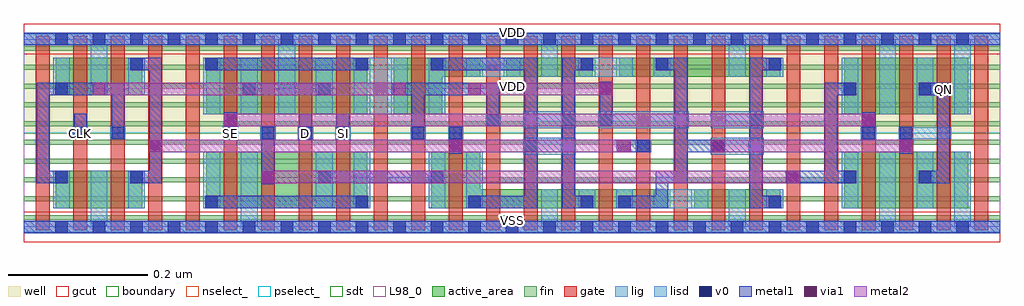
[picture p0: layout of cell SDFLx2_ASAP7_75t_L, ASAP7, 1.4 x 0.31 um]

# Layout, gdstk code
import gdstk
lib = gdstk.Library(unit=1e-6, precision=2.5e-10)
def R(c, l, rs):  # rectangles x0, y0, x1, y1
    for r in rs: c.add(gdstk.rectangle(r[:2], r[2:], *l))
def A(c, l, x, y, w, h, nx, ny, dx, dy):  # array of equal rectangles
    R(c, l, [(x+i*dx, y+j*dy, x+i*dx+w, y+j*dy+h) for i in range(nx) for j in range(ny)])
def P(c, l, *ps):  # polygons
    for p in ps: c.add(gdstk.Polygon(p, *l))
well = (1, 0)
fin = (2, 0)
gate = (7, 0)
gcut = (10, 0)
active_area = (11, 0)
nselect_ = (12, 0)
pselect_ = (13, 0)
lig = (16, 0)
lisd = (17, 0)
v0 = (18, 0)
metal1 = (19, 0)
metal2 = (20, 0)
via1 = (21, 0)
sdt = (88, 0)
L98_0 = (98, 0)
boundary = (100, 0)

sdflx2_asap7_75t_l = lib.new_cell('SDFLx2_ASAP7_75t_L')
R(sdflx2_asap7_75t_l, well, [(0,0.135,1.404,0.27)])
A(sdflx2_asap7_75t_l, fin, 0, 0.01, 1.404, 0.007, 1, 10, 0, 0.027)
A(sdflx2_asap7_75t_l, gate, 0.017, -0.005, 0.02, 0.28, 26, 1, 0.054, 0)
R(sdflx2_asap7_75t_l, gcut, [(0,-0.022,1.404,0.022), (0,0.248,1.404,0.292)])
R(sdflx2_asap7_75t_l, active_area, [(0.046,0.027,0.17,0.081), (0.262,0.027,0.494,0.108), (0.964,0.027,1.088,0.054), (1.18,0.027,1.358,0.108), (0.262,0.162,0.494,0.243), (1.18,0.162,1.358,0.243), (0.046,0.189,0.17,0.243), (0.694,0.216,0.818,0.243), (0.856,0.216,1.088,0.243)])
P(sdflx2_asap7_75t_l, active_area, [(0.586,0.027),(0.586,0.108),(0.656,0.108),(0.656,0.054),(0.926,0.054),(0.926,0.027)],
  [(0.532,0.162),(0.532,0.243),(0.656,0.243),(0.656,0.216),(0.602,0.216),(0.602,0.162)])
R(sdflx2_asap7_75t_l, nselect_, [(0,0,1.404,0.135)])
R(sdflx2_asap7_75t_l, pselect_, [(0,0.135,1.404,0.27)])
A(sdflx2_asap7_75t_l, lig, 0.286, 0.126, 0.022, 0.018, 4, 1, 0.054, 0)
A(sdflx2_asap7_75t_l, lig, 0.718, 0.145, 0.022, 0.018, 3, 1, 0.108, 0)
R(sdflx2_asap7_75t_l, lig, [(0,-0.008,1.404,0.008), (0.772,0.107,0.794,0.125), (0.88,0.107,0.902,0.125), (1.042,0.107,1.064,0.125), (0.07,0.126,0.092,0.144), (0.124,0.126,0.146,0.144), (0.556,0.126,0.578,0.144), (0.61,0.126,0.632,0.144), (1.204,0.126,1.226,0.144), (1.258,0.126,1.28,0.144), (1.258,0.127,1.334,0.143), (0.664,0.145,0.686,0.163), (0.988,0.145,1.01,0.163), (0,0.262,1.404,0.278)])
R(sdflx2_asap7_75t_l, lisd, [(0.096,0,0.12,0.081), (0.096,0,0.12,0.081), (0.312,0,0.336,0.108), (0.312,0,0.336,0.108), (0.744,0,0.768,0.054), (1.014,0,1.038,0.054), (1.23,0,1.254,0.108), (1.23,0,1.254,0.108), (1.338,0,1.362,0.108), (1.338,0,1.362,0.108), (0.042,0.027,0.066,0.081), (0.15,0.027,0.174,0.081), (0.258,0.027,0.282,0.108), (0.42,0.027,0.444,0.108), (0.474,0.027,0.498,0.108), (0.582,0.027,0.606,0.108), (0.636,0.027,0.66,0.108), (0.798,0.027,0.822,0.054), (0.852,0.027,0.876,0.054), (0.906,0.027,0.984,0.054), (1.068,0.027,1.092,0.054), (1.176,0.027,1.2,0.108), (1.284,0.027,1.308,0.108), (0.718,0.104,0.794,0.128), (0.988,0.104,1.064,0.128), (0.718,0.142,0.794,0.166), (0.826,0.142,0.956,0.166), (0.988,0.142,1.064,0.166), (0.258,0.162,0.282,0.243), (0.312,0.162,0.336,0.243), (0.366,0.162,0.39,0.27), (0.366,0.162,0.39,0.27), (0.42,0.162,0.444,0.243), (0.474,0.162,0.552,0.243), (0.474,0.162,0.498,0.243), (0.582,0.162,0.606,0.243), (1.176,0.162,1.2,0.243), (1.23,0.162,1.254,0.27), (1.23,0.162,1.254,0.27), (1.284,0.162,1.308,0.243), (1.338,0.162,1.362,0.27), (1.338,0.162,1.362,0.27), (0.042,0.189,0.066,0.243), (0.096,0.189,0.12,0.27), (0.096,0.189,0.12,0.27), (0.15,0.189,0.174,0.243), (0.636,0.216,0.714,0.243), (0.744,0.216,0.768,0.27), (0.798,0.216,0.876,0.243), (0.798,0.216,0.822,0.243), (0.906,0.216,0.93,0.243), (1.014,0.216,1.038,0.27), (1.068,0.216,1.092,0.243)])
A(sdflx2_asap7_75t_l, v0, 0.045, -0.009, 0.018, 0.018, 25, 2, 0.054, 0.27)
A(sdflx2_asap7_75t_l, v0, 0.477, 0.027, 0.018, 0.018, 3, 1, 0.162, 0)
A(sdflx2_asap7_75t_l, v0, 0.288, 0.126, 0.018, 0.018, 4, 1, 0.054, 0)
R(sdflx2_asap7_75t_l, v0, [(0.261,0.027,0.279,0.045), (0.855,0.027,0.873,0.045), (1.071,0.027,1.089,0.045), (0.045,0.063,0.063,0.081), (0.153,0.063,0.171,0.081), (0.423,0.063,0.441,0.081), (0.585,0.063,0.603,0.081), (1.179,0.063,1.197,0.081), (1.287,0.063,1.305,0.081), (0.72,0.107,0.738,0.125), (0.882,0.107,0.9,0.125), (0.99,0.107,1.008,0.125), (0.072,0.126,0.09,0.144), (0.126,0.126,0.144,0.144), (0.558,0.126,0.576,0.144), (0.612,0.126,0.63,0.144), (1.206,0.126,1.224,0.144), (1.26,0.126,1.278,0.144), (0.666,0.145,0.684,0.163), (0.774,0.145,0.792,0.163), (0.828,0.145,0.846,0.163), (1.044,0.145,1.062,0.163), (0.045,0.189,0.063,0.207), (0.315,0.189,0.333,0.207), (0.423,0.189,0.441,0.207), (1.179,0.189,1.197,0.207), (1.287,0.189,1.305,0.207), (0.153,0.225,0.171,0.243), (0.261,0.225,0.279,0.243), (0.477,0.225,0.495,0.243), (0.585,0.225,0.603,0.243), (0.801,0.225,0.819,0.243), (0.909,0.225,0.927,0.243), (1.071,0.225,1.089,0.243)])
A(sdflx2_asap7_75t_l, metal1, 0.477, 0.027, 0.018, 0.018, 3, 1, 0.162, 0)
A(sdflx2_asap7_75t_l, metal1, 0.288, 0.126, 0.018, 0.018, 4, 1, 0.054, 0)
R(sdflx2_asap7_75t_l, metal1, [(0,-0.009,1.404,0.009), (0.261,0.027,0.279,0.045), (0.261,0.027,0.495,0.045), (0.855,0.027,0.873,0.045), (1.071,0.027,1.089,0.045), (0.342,0.061,0.36,0.081), (0.045,0.063,0.063,0.081), (0.153,0.063,0.171,0.081), (0.342,0.063,0.36,0.144), (0.423,0.063,0.441,0.081), (0.423,0.063,0.603,0.081), (0.585,0.063,0.603,0.081), (1.096,0.063,1.118,0.081), (1.179,0.063,1.197,0.081), (1.287,0.063,1.305,0.081), (0.612,0.105,0.63,0.125), (1.26,0.105,1.278,0.125), (0.18,0.107,0.198,0.125), (0.612,0.107,0.63,0.144), (0.72,0.107,0.738,0.125), (0.853,0.107,0.875,0.125), (0.855,0.107,0.9,0.125), (0.882,0.107,0.9,0.125), (0.99,0.107,1.008,0.125), (0.99,0.107,1.008,0.125), (1.26,0.107,1.278,0.144), (0.072,0.126,0.09,0.144), (0.072,0.126,0.09,0.163), (0.126,0.126,0.144,0.144), (0.288,0.126,0.306,0.163), (0.396,0.126,0.414,0.163), (0.45,0.126,0.468,0.163), (0.558,0.126,0.576,0.144), (0.612,0.126,0.63,0.144), (1.206,0.126,1.224,0.144), (1.206,0.126,1.224,0.163), (1.26,0.126,1.278,0.144), (0.288,0.145,0.306,0.165), (0.666,0.145,0.684,0.163), (0.774,0.145,0.792,0.163), (0.828,0.145,0.846,0.163), (0.828,0.145,0.846,0.207), (1.044,0.145,1.062,0.163), (1.206,0.145,1.224,0.165), (0.045,0.189,0.063,0.207), (0.099,0.189,0.117,0.207), (0.315,0.189,0.333,0.207), (0.315,0.189,0.441,0.207), (0.423,0.189,0.441,0.207), (0.529,0.189,0.551,0.207), (0.639,0.189,0.657,0.207), (0.828,0.189,0.846,0.209), (1.179,0.189,1.197,0.207), (1.287,0.189,1.305,0.207), (0.153,0.225,0.171,0.243), (0.261,0.225,0.279,0.243), (0.261,0.225,0.495,0.243), (0.477,0.225,0.495,0.243), (0.585,0.225,0.603,0.243), (0.801,0.225,0.819,0.243), (0.909,0.225,0.927,0.243), (1.071,0.225,1.089,0.243), (0,0.261,1.404,0.279)])
P(sdflx2_asap7_75t_l, metal1, [(0.018,0.063),(0.018,0.207),(0.144,0.207),(0.144,0.126),(0.126,0.126),(0.126,0.189),(0.036,0.189),(0.036,0.081),(0.063,0.081),(0.063,0.063)],
  [(0.558,0.126),(0.558,0.189),(0.531,0.189),(0.531,0.207),(0.684,0.207),(0.684,0.145),(0.666,0.145),(0.666,0.189),(0.576,0.189),(0.576,0.126)],
  [(0.153,0.063),(0.153,0.081),(0.18,0.081),(0.18,0.225),(0.153,0.225),(0.153,0.243),(0.198,0.243),(0.198,0.063)],
  [(0.774,0.027),(0.774,0.243),(0.819,0.243),(0.819,0.225),(0.792,0.225),(0.792,0.045),(0.819,0.045),(0.819,0.027)],
  [(0.639,0.027),(0.639,0.045),(0.72,0.045),(0.72,0.225),(0.585,0.225),(0.585,0.243),(0.738,0.243),(0.738,0.027)],
  [(1.098,0.063),(1.098,0.081),(1.152,0.081),(1.152,0.207),(1.197,0.207),(1.197,0.189),(1.17,0.189),(1.17,0.081),(1.197,0.081),(1.197,0.063)],
  [(1.044,0.027),(1.044,0.243),(1.089,0.243),(1.089,0.225),(1.062,0.225),(1.062,0.045),(1.089,0.045),(1.089,0.027)],
  [(0.855,0.027),(0.855,0.045),(0.909,0.045),(0.909,0.081),(0.936,0.081),(0.936,0.225),(0.909,0.225),(0.909,0.243),(0.954,0.243),(0.954,0.125),(1.008,0.125),(1.008,0.107),(0.954,0.107),(0.954,0.063),(0.927,0.063),(0.927,0.027)],
  [(1.287,0.063),(1.287,0.081),(1.314,0.081),(1.314,0.189),(1.287,0.189),(1.287,0.207),(1.332,0.207),(1.332,0.063)])
R(sdflx2_asap7_75t_l, metal2, [(0.342,0.063,1.116,0.081), (0.18,0.107,0.873,0.125), (0.988,0.107,1.278,0.125), (0.288,0.145,1.224,0.163), (0.099,0.189,0.549,0.207), (0.639,0.189,0.846,0.207)])
R(sdflx2_asap7_75t_l, via1, [(0.342,0.063,0.36,0.081), (1.098,0.063,1.116,0.081), (0.18,0.107,0.198,0.125), (0.612,0.107,0.63,0.125), (0.855,0.107,0.873,0.125), (0.988,0.107,1.006,0.125), (1.26,0.107,1.278,0.125), (0.288,0.145,0.306,0.163), (1.206,0.145,1.224,0.163), (0.099,0.189,0.117,0.207), (0.531,0.189,0.549,0.207), (0.639,0.189,0.657,0.207), (0.828,0.189,0.846,0.207)])
A(sdflx2_asap7_75t_l, sdt, 0.744, 0.027, 0.024, 0.027, 7, 1, 0.054, 0)
A(sdflx2_asap7_75t_l, sdt, 1.23, 0.027, 0.024, 0.081, 3, 2, 0.054, 0.135)
A(sdflx2_asap7_75t_l, sdt, 0.258, 0.162, 0.024, 0.081, 3, 1, 0.054, 0)
A(sdflx2_asap7_75t_l, sdt, 0.366, 0.162, 0.024, 0.081, 5, 1, 0.054, 0)
A(sdflx2_asap7_75t_l, sdt, 0.636, 0.216, 0.024, 0.027, 6, 1, 0.054, 0)
R(sdflx2_asap7_75t_l, sdt, [(0.042,0.027,0.066,0.081), (0.096,0.027,0.12,0.081), (0.096,0.027,0.12,0.081), (0.15,0.027,0.174,0.081), (0.258,0.027,0.282,0.108), (0.312,0.027,0.336,0.108), (0.312,0.027,0.336,0.108), (0.42,0.027,0.444,0.108), (0.474,0.027,0.498,0.108), (0.582,0.027,0.606,0.108), (0.636,0.027,0.66,0.108), (1.176,0.027,1.2,0.108), (1.23,0.027,1.254,0.108), (1.338,0.027,1.362,0.108), (1.176,0.162,1.2,0.243), (1.23,0.162,1.254,0.243), (1.338,0.162,1.362,0.243), (0.042,0.189,0.066,0.243), (0.096,0.189,0.12,0.243), (0.096,0.189,0.12,0.243), (0.15,0.189,0.174,0.243), (1.014,0.216,1.038,0.243), (1.068,0.216,1.092,0.243)])
R(sdflx2_asap7_75t_l, L98_0, [(0,0,1.404,0.27)])
R(sdflx2_asap7_75t_l, boundary, [(0,0,1.404,0.27)])
sdflx2_asap7_75t_l.add(gdstk.Label('VDD', (0.702,0.2025), layer=1, texttype=251))
sdflx2_asap7_75t_l.add(gdstk.Label('VSS', (0.702,-0.0675), layer=3, texttype=251))
sdflx2_asap7_75t_l.add(gdstk.Label('VSS', (0.702,0.009), layer=19, texttype=251))
sdflx2_asap7_75t_l.add(gdstk.Label('VDD', (0.702,0.279), layer=19, texttype=251))
sdflx2_asap7_75t_l.add(gdstk.Label('CLK', (0.081,0.135), layer=19, texttype=251))
sdflx2_asap7_75t_l.add(gdstk.Label('D', (0.405,0.135), layer=19, texttype=251))
sdflx2_asap7_75t_l.add(gdstk.Label('SI', (0.459,0.135), layer=19, texttype=251))
sdflx2_asap7_75t_l.add(gdstk.Label('SE', (0.297,0.135), layer=19, texttype=251))
sdflx2_asap7_75t_l.add(gdstk.Label('QN', (1.323,0.198), layer=19, texttype=251))

lib.write_gds('SDFLx2_ASAP7_75t_L.gds')
